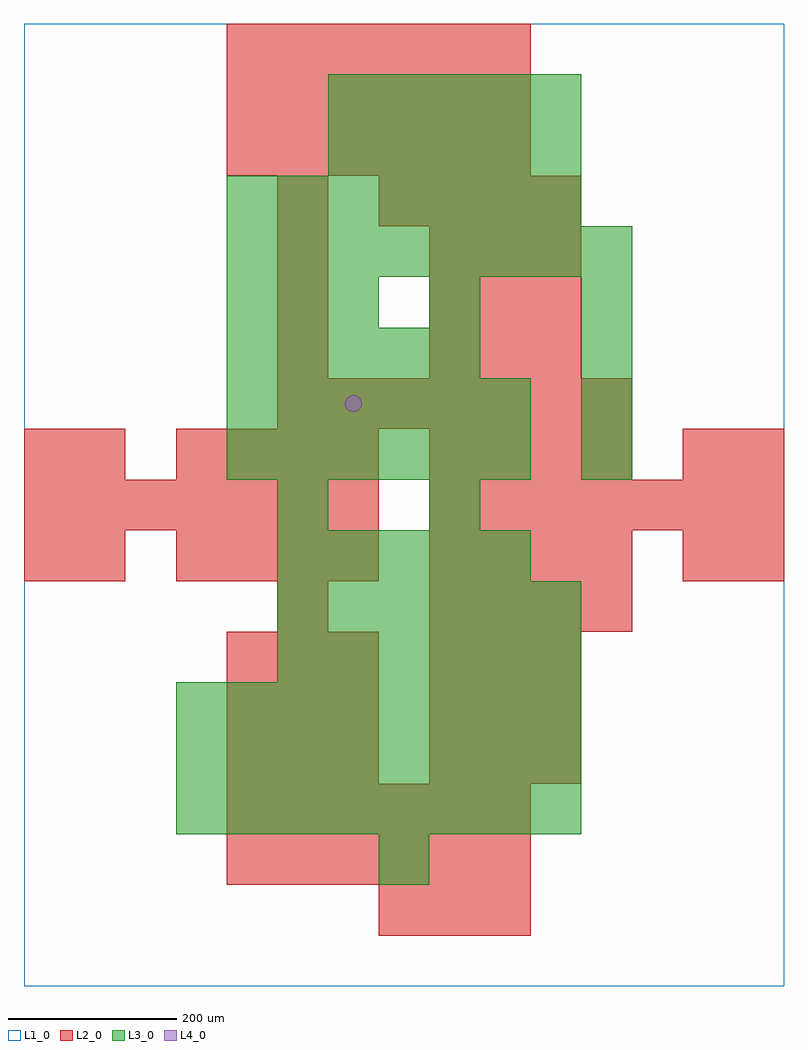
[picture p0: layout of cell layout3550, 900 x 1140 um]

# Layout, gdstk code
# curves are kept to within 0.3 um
import gdstk
lib = gdstk.Library(unit=1e-6, precision=1e-09)
def R(c, l, rs):  # rectangles x0, y0, x1, y1
    for r in rs: c.add(gdstk.rectangle(r[:2], r[2:], *l))
def A(c, l, x, y, w, h, nx, ny, dx, dy):  # array of equal rectangles
    R(c, l, [(x+i*dx, y+j*dy, x+i*dx+w, y+j*dy+h) for i in range(nx) for j in range(ny)])
def P(c, l, *ps):  # polygons
    for p in ps: c.add(gdstk.Polygon(p, *l))
L1_0 = (1, 0)
L2_0 = (2, 0)
L3_0 = (3, 0)
L4_0 = (4, 0)

layout3550 = lib.new_cell('layout3550')
R(layout3550, L1_0, [(0,0,900,1140)])
A(layout3550, L2_0, 420, 60, 60, 60, 3, 1, 60, 0)
A(layout3550, L2_0, 240, 120, 60, 60, 6, 2, 60, 60)
A(layout3550, L2_0, 240, 240, 60, 60, 3, 3, 60, 60)
A(layout3550, L2_0, 480, 240, 60, 60, 3, 3, 60, 60)
A(layout3550, L2_0, 480, 420, 60, 60, 4, 2, 60, 60)
A(layout3550, L2_0, 180, 480, 60, 60, 4, 2, 60, 120)
A(layout3550, L2_0, 0, 540, 60, 60, 7, 1, 60, 0)
A(layout3550, L2_0, 480, 540, 60, 60, 7, 1, 60, 0)
A(layout3550, L2_0, 480, 600, 60, 60, 4, 1, 60, 0)
A(layout3550, L2_0, 300, 660, 60, 60, 7, 1, 60, 0)
A(layout3550, L2_0, 300, 720, 60, 60, 1, 4, 0, 60)
A(layout3550, L2_0, 480, 720, 60, 60, 3, 3, 60, 60)
A(layout3550, L2_0, 420, 900, 60, 60, 4, 1, 60, 0)
A(layout3550, L2_0, 240, 960, 60, 60, 6, 3, 60, 60)
R(layout3550, L2_0, [(300,420,360,480), (0,480,60,540), (60,480,120,540), (780,480,840,540), (840,480,900,540), (0,600,60,660), (60,600,120,660), (780,600,840,660), (840,600,900,660)])
A(layout3550, L3_0, 180, 180, 60, 60, 8, 3, 60, 60)
A(layout3550, L3_0, 300, 360, 60, 60, 6, 2, 60, 60)
A(layout3550, L3_0, 300, 480, 60, 60, 5, 1, 60, 0)
A(layout3550, L3_0, 240, 600, 60, 60, 6, 2, 60, 60)
A(layout3550, L3_0, 660, 600, 60, 60, 1, 4, 0, 60)
A(layout3550, L3_0, 240, 720, 60, 60, 5, 1, 60, 0)
A(layout3550, L3_0, 240, 780, 60, 60, 3, 1, 60, 0)
A(layout3550, L3_0, 240, 840, 60, 60, 8, 1, 60, 0)
A(layout3550, L3_0, 240, 900, 60, 60, 7, 1, 60, 0)
A(layout3550, L3_0, 360, 960, 60, 60, 5, 2, 60, 60)
R(layout3550, L3_0, [(420,120,480,180), (300,540,360,600), (480,540,540,600), (480,780,540,840)])
P(layout3550, L4_0, [(400,690),(399.239,693.827),(397.071,697.071),(393.827,699.239),(390,700),(386.173,699.239),(382.929,697.071),(380.761,693.827),(380,690),(380.761,686.173),(382.929,682.929),(386.173,680.761),(390,680),(393.827,680.761),(397.071,682.929),(399.239,686.173)])

lib.write_gds('layout3550.gds')
